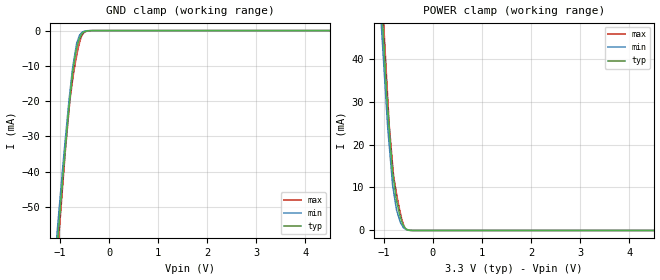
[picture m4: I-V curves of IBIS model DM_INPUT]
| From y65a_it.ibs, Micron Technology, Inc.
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|   MODEL DM_INPUT
[Model]   DM_INPUT
Model_type   Input
Vinl = 800.000mV
Vinh = 2.000V
|   typ   min   max
C_comp   2.675pF   2.575pF   2.775pF
[Voltage Range]   3.300V   3.000V   3.600V
| Junction Temperature (Case temp is 35C typ, 85C min, -40C max)
[Temperature Range]   50.0   95.0   -40.0
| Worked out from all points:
|   GND clamp passes 1 mA (typ) near -0.56 V on its own axis
|   POWER clamp passes 1 mA (typ) near -0.59 V on its own axis
[GND Clamp]
|   Voltage   I(typ)   I(min)   I(max)
-3.3V     -494.6mA   -458.5mA   -540.1mA
-1.06V    -61.61mA   -57.17mA   -64.99mA
-1.045V   -59.01mA   -54.7mA    -62.1mA
-1.015V   -53.81mA   -49.9mA    -56.35mA
-890mV    -32.87mA   -30.32mA   -33.56mA
-800mV    -19.28mA   -17.54mA   -19.78mA
-745mV    -11.95mA   -10.7mA    -13.93mA
-660mV    -4.793mA   -3.525mA   -6.975mA
-590mV    -1.833mA   -1.081mA   -2.682mA
-545mV    -801uA     -405.6uA   -1.161mA
-285mV    -818.1nA   -236.4nA   -1.798uA
6.6V      0A         0A         0A
[POWER Clamp]
|   Voltage   I(typ)   I(min)   I(max)
-3.3V     589.7mA    562.5mA    639.3mA
-1.045V   52.57mA    46.68mA    57.31mA
-1.015V   46.51mA    41.19mA    50.38mA
-1.01V    45.5mA     40.27mA    49.31mA
-920mV    28.33mA    23.87mA    30.57mA
-890mV    23.68mA    19.84mA    24.42mA
-825mV    13.9mA     11.09mA    15.76mA
-800mV    11.78mA    9.003mA    12.54mA
-740mV    6.842mA    4.713mA    8.419mA
-630mV    1.986mA    1.228mA    2.407mA
-545mV    358.5uA    201.4uA    283.2uA
6.6V      0A         0A         0A
